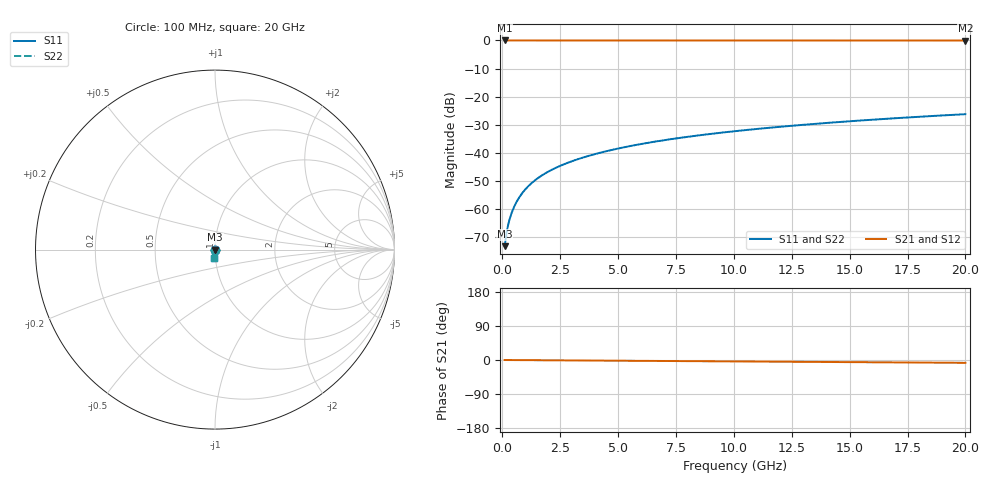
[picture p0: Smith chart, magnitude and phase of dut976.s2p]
! Touchstone file exported from HFSS 2026.1.0
!  File:  C:/ffzhzh/LocalFiles/Ansys_Project_Files/temp_train_TSV_976_1783187879_18472.aedt
!  Generated:  01:59:23 AM Jul  5, 2026
!  Design:  TSV
!  Project:  temp_train_TSV_976_1783187879_18472
! Variables:
!  h_bsmrdl = 2um
!  h_ox = 20um
!  h_rdl = 5um
!  h_sub = 71.48um
!  h_tmrdl = 5um
!  h_tsv = 71.48um
!  h_via = 3um
!  l_bsmrdl = 300um
!  l_sub = 425.46um
!  l_tmrdl = 200um
!  m_sub = 200um
!  pitch = 36.62um
!  r_tsv = 12.73um
!  s_tmrdl = 10um
!  w_bsmrdl = 18um
!  w_sub = 500um
!  w_tmrdl = 12um
!  x_tsv_center1 = 206um
!  x_tsv_center2 = 524um
!  x_tsv_center3 = 736um
!  x_tsv_center4 = 1054um
!  x_tsv_center5 = 1266um
!  x_tsv_center6 = 1584um
# GHz S MA R 50.000000
! Terminal data exported
! Port[1] = TSV1_1_T1
! Port[2] = TSV1_1_T2
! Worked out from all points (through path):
!   200 points, 100 MHz to 20 GHz, reference 50 ohm
!   highest |S21| = 0.00 dB at 100 MHz (marker M1); lowest = 0.0 dB at 20 GHz (marker M2)
!   group delay of S21, straight-line fit = 1.03 ps
!   lowest |S11| = -73.1 dB at 100 MHz (marker M3), VSWR 1.00, Z = 50 - j0.0202 ohm
!   |S11| at or under -10 dB: start of sweep to end of sweep
!   |S22| runs from -73.1 to -26.2 dB; largest |S21 - S12| = 3e-15
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0.1  0.0002204 -66.2  0.9999 -0.0  0.9999 -0.0  0.0002204 -66.2
! Gamma 0 0 0 0
! Port Impedance 50 0 50 0
0.2  0.00042 -75.8  0.9999 -0.1  0.9999 -0.1  0.00042 -75.8
0.3  0.0006313 -78.8  0.9999 -0.1  0.9999 -0.1  0.0006313 -78.8
0.4  0.0008513 -80.1  0.9999 -0.2  0.9999 -0.2  0.0008513 -80.1
0.5  0.001078 -81.0  0.9998 -0.2  0.9998 -0.2  0.001078 -81.0
0.7  0.001547 -82.2  0.9998 -0.3  0.9998 -0.3  0.001547 -82.2
0.8  0.001785 -82.7  0.9998 -0.3  0.9998 -0.3  0.001785 -82.7
1  0.002267 -83.6  0.9997 -0.4  0.9997 -0.4  0.002267 -83.6
1.2  0.002752 -84.3  0.9997 -0.5  0.9997 -0.5  0.002752 -84.3
1.4  0.003237 -84.9  0.9997 -0.5  0.9997 -0.5  0.003237 -84.9
1.7  0.003964 -85.7  0.9996 -0.6  0.9996 -0.6  0.003964 -85.7
2  0.004692 -86.3  0.9996 -0.8  0.9996 -0.8  0.004692 -86.3
2.7  0.006388 -87.3  0.9996 -1.0  0.9996 -1.0  0.006388 -87.3
3.5  0.008331 -88.1  0.9995 -1.3  0.9995 -1.3  0.008331 -88.1
4.2  0.01004 -88.7  0.9994 -1.6  0.9994 -1.6  0.01004 -88.7
5  0.01199 -89.2  0.9994 -1.9  0.9994 -1.9  0.01199 -89.2
6.8  0.01641 -90.3  0.9992 -2.6  0.9992 -2.6  0.01641 -90.3
8.3  0.0201 -91.0  0.9991 -3.1  0.9991 -3.1  0.0201 -91.0
10.1  0.02453 -91.9  0.9989 -3.8  0.9989 -3.8  0.02453 -91.9
13.4  0.03266 -93.4  0.9985 -5.0  0.9985 -5.0  0.03266 -93.4
16.7  0.04079 -94.8  0.9981 -6.2  0.9981 -6.2  0.04079 -94.8
20  0.04892 -96.1  0.9977 -7.5  0.9977 -7.5  0.04892 -96.1
